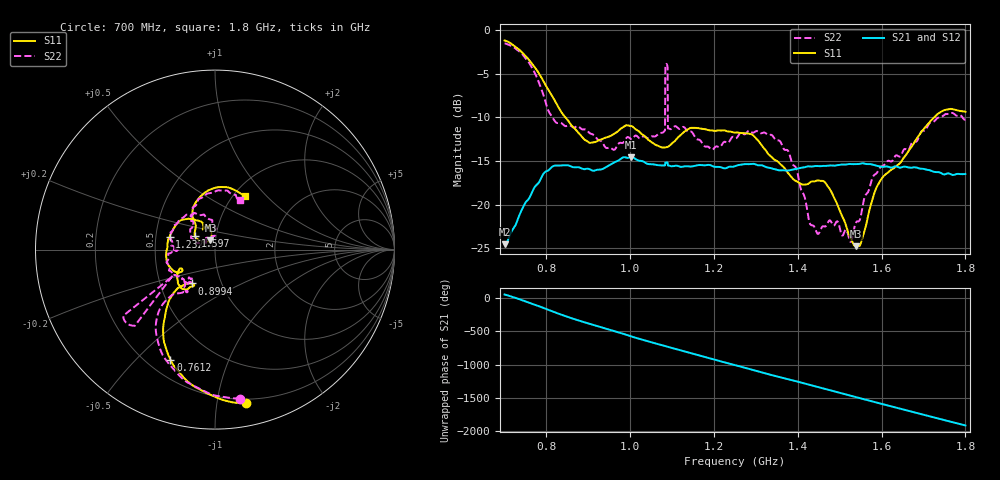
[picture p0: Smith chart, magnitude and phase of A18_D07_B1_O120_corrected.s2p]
! Created with skrf 1.9.0 (http://scikit-rf.org).
# Hz S RI R 50.0
!freq ReS11 ImS11 ReS21 ImS21 ReS12 ImS12 ReS22 ImS22
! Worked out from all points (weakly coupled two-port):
!   1601 points, 700 MHz to 1.8 GHz, reference 50 ohm
!   highest |S21| = -14.54 dB at 1.002 GHz (marker M1); lowest = -24.5 dB at 700 MHz (marker M2)
!   lowest |S11| = -24.7 dB at 1.538 GHz (marker M3), VSWR 1.12, Z = 47.3 + j4.92 ohm
!   |S11| at or under -10 dB: 845.3 MHz to 1.725 GHz (879.4 MHz wide, 68.4 % of centre)
!   |S22| runs from -24.3 to -1.5 dB; largest |S21 - S12| = 0.0035
!   S11 on the Smith chart (normalised r, x): 700 MHz: 0.17, -1.21; 761.2 MHz: 0.29, -0.63; 899.4 MHz: 0.72, -0.29; 1.232 GHz: 0.59, +0.09; 1.597 GHz: 0.79, +0.13; 1.8 GHz: 1.12, +0.76
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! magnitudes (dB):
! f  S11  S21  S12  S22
! 700 MHz  -1.2  -24.5  -24.3  -1.5
! 761.2 MHz  -3.6  -19.0  -18.9  -3.9
! 818.9 MHz  -8.0  -15.5  -15.6  -10.4
! 883.6 MHz  -12.1  -15.8  -15.7  -11.3
! 899.4 MHz  -12.8  -15.9  -15.9  -11.6
! 1.002 GHz  -11.0  -14.5  -14.6  -12.5
! 1.067 GHz  -13.3  -15.5  -15.4  -11.9
! 1.077 GHz  -13.4  -15.5  -15.5  -11.7
! 1.084 GHz  -13.4  -15.2  -15.2  -4.0
! 1.089 GHz  -13.4  -15.2  -15.2  -4.2
! 1.095 GHz  -13.2  -15.6  -15.6  -11.3
! 1.232 GHz  -11.6  -15.7  -15.7  -12.9
! 1.25 GHz  -11.7  -15.6  -15.5  -12.3
! 1.357 GHz  -15.3  -16.1  -16.0  -12.7
! 1.434 GHz  -17.3  -15.6  -15.6  -22.4
! 1.473 GHz  -18.0  -15.5  -15.5  -22.0
! 1.526 GHz  -23.8  -15.3  -15.3  -24.3
! 1.538 GHz  -24.7  -15.3  -15.3  -22.1
! 1.597 GHz  -17.3  -15.6  -15.6  -15.7
! 1.617 GHz  -16.2  -15.7  -15.6  -15.0
! 1.733 GHz  -9.6  -16.3  -16.3  -10.1
! 1.8 GHz  -9.3  -16.5  -16.5  -10.3
